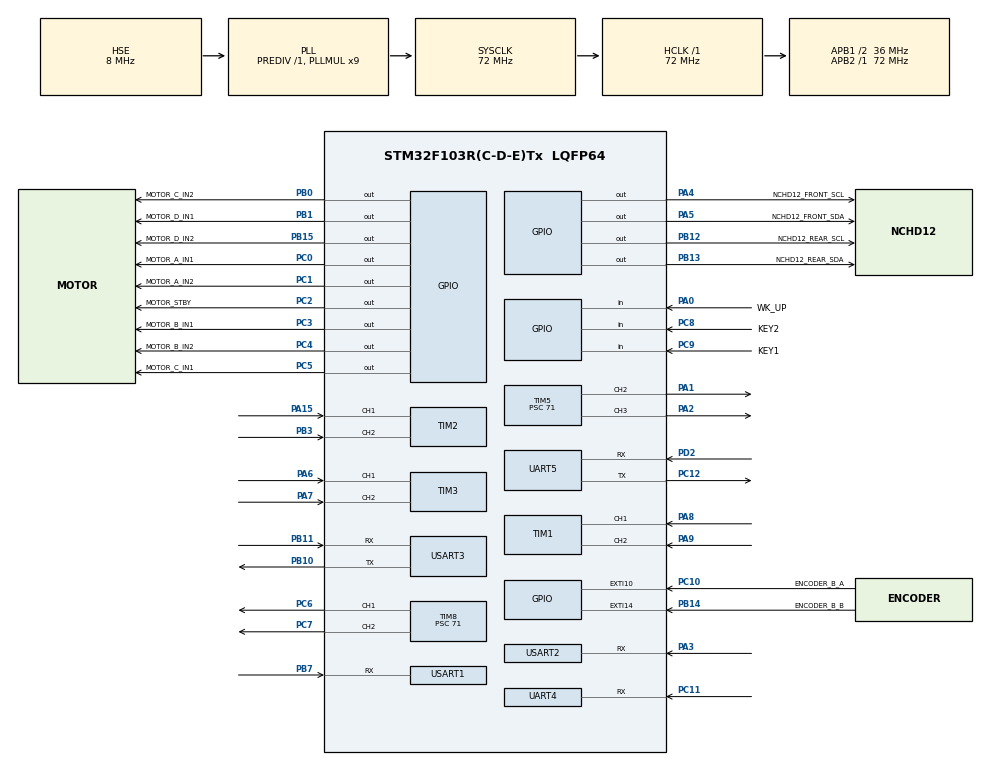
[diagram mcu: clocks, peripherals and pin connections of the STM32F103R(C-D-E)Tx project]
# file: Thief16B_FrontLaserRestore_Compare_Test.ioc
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Mcu.Family=STM32F1
Mcu.Name=STM32F103R(C-D-E)Tx
Mcu.Package=LQFP64
PA3.Mode=Asynchronous
PA3.Signal=USART2_RX
NVIC.EXTI15_10_IRQn=true\:5\:0\:false\:false\:true\:true\:true\:true
NVIC.PriorityGroup=NVIC_PRIORITYGROUP_4
NVIC.USART2_IRQn=true\:5\:0\:false\:false\:true\:true\:true\:true
PA0-WKUP.GPIO_Label=WK_UP
PA0-WKUP.GPIO_PuPd=GPIO_PULLDOWN
PA0-WKUP.Signal=GPIO_Input
PA1.Signal=S_TIM5_CH2
PA4.GPIO_Label=NCHD12_FRONT_SCL
PA4.Signal=GPIO_Output
PA5.GPIO_Label=NCHD12_FRONT_SDA
PA5.Signal=GPIO_Output
PB15.GPIO_Label=MOTOR_D_IN2
PB15.Signal=GPIO_Output
PA13.Mode=Serial_Wire
PA13.Signal=SYS_JTMS-SWDIO
PA14.Mode=Serial_Wire
PA14.Signal=SYS_JTCK-SWCLK
PA15.Signal=S_TIM2_CH1_ETR
PC12.Mode=Asynchronous
PC12.Signal=UART5_TX
PD2.Mode=Asynchronous
PD2.Signal=UART5_RX
PA2.Signal=S_TIM5_CH3
PA6.Signal=S_TIM3_CH1
PA7.Signal=S_TIM3_CH2
PA8.Signal=S_TIM1_CH1
PA9.Signal=S_TIM1_CH2
PB0.GPIO_Label=MOTOR_C_IN2
PB0.Signal=GPIO_Output
PB1.GPIO_Label=MOTOR_D_IN1
PB1.Signal=GPIO_Output
PB10.Mode=Asynchronous
PB10.Signal=USART3_TX
PB11.Mode=Asynchronous
PB11.Signal=USART3_RX
PB12.GPIO_Label=NCHD12_REAR_SCL
PB12.Signal=GPIO_Output
PB13.GPIO_Label=NCHD12_REAR_SDA
PB13.Signal=GPIO_Output
PB3.Signal=S_TIM2_CH2
PC10.GPIO_Label=ENCODER_B_A
PC10.GPIO_PuPd=GPIO_NOPULL
PC10.Signal=GPXTI10
PC0.GPIO_Label=MOTOR_A_IN1
PC0.Signal=GPIO_Output
PC1.GPIO_Label=MOTOR_A_IN2
PC1.Signal=GPIO_Output
PC2.GPIO_Label=MOTOR_STBY
PC2.Signal=GPIO_Output
PC3.GPIO_Label=MOTOR_B_IN1
PC3.Signal=GPIO_Output
PC4.GPIO_Label=MOTOR_B_IN2
PC4.Signal=GPIO_Output
PC5.GPIO_Label=MOTOR_C_IN1
PC5.Signal=GPIO_Output
PC6.Signal=S_TIM8_CH1
PC7.Signal=S_TIM8_CH2
PC8.GPIO_Label=KEY2
PC8.GPIO_PuPd=GPIO_PULLUP
PC8.Signal=GPIO_Input
PC9.GPIO_Label=KEY1
PC9.GPIO_PuPd=GPIO_PULLUP
PC9.Signal=GPIO_Input
PD0-OSC_IN.Mode=HSE-External-Oscillator
PD0-OSC_IN.Signal=RCC_OSC_IN
PD1-OSC_OUT.Mode=HSE-External-Oscillator
PD1-OSC_OUT.Signal=RCC_OSC_OUT
ProjectManager.HeapSize=0x200
ProjectManager.StackSize=0x400
ProjectManager.TargetToolchain=MDK-ARM V5.32
RCC.AHBFreq_Value=72000000
RCC.APB1CLKDivider=RCC_HCLK_DIV2
RCC.APB1Freq_Value=36000000
RCC.APB1TimFreq_Value=72000000
RCC.APB2Freq_Value=72000000
RCC.APB2TimFreq_Value=72000000
RCC.HCLKFreq_Value=72000000
RCC.PLLMUL=RCC_PLL_MUL9
RCC.PLLSourceVirtual=RCC_PLLSOURCE_HSE
RCC.SYSCLKFreq_VALUE=72000000
RCC.SYSCLKSource=RCC_SYSCLKSOURCE_PLLCLK
RCC.USBFreq_Value=72000000
SH.S_TIM1_CH1.0=TIM1_CH1,Encoder_Interface
SH.S_TIM1_CH2.0=TIM1_CH2,Encoder_Interface
SH.S_TIM2_CH1_ETR.0=TIM2_CH1,Encoder_Interface
SH.S_TIM2_CH2.0=TIM2_CH2,Encoder_Interface
SH.S_TIM3_CH1.0=TIM3_CH1,Encoder_Interface
SH.S_TIM3_CH2.0=TIM3_CH2,Encoder_Interface
SH.S_TIM5_CH2.0=TIM5_CH2,PWM Generation2 CH2
SH.S_TIM5_CH3.0=TIM5_CH3,PWM Generation3 CH3
SH.S_TIM8_CH1.0=TIM8_CH1,PWM Generation1 CH1
SH.S_TIM8_CH2.0=TIM8_CH2,PWM Generation2 CH2
TIM1.EncoderMode=TIM_ENCODERMODE_TI12
TIM2.EncoderMode=TIM_ENCODERMODE_TI12
TIM3.EncoderMode=TIM_ENCODERMODE_TI12
TIM5.AutoReloadPreload=TIM_AUTORELOAD_PRELOAD_ENABLE
TIM5.Channel-PWM\ Generation2\ CH2=TIM_CHANNEL_2
TIM5.Channel-PWM\ Generation3\ CH3=TIM_CHANNEL_3
TIM5.Period=999
TIM5.Prescaler=71
TIM8.AutoReloadPreload=TIM_AUTORELOAD_PRELOAD_ENABLE
TIM8.Channel-PWM\ Generation1\ CH1=TIM_CHANNEL_1
TIM8.Channel-PWM\ Generation2\ CH2=TIM_CHANNEL_2
TIM8.Period=999
TIM8.Prescaler=71
USART3.VirtualMode=VM_ASYNC
USART2.BaudRate=115200
USART2.Mode=RX
USART2.Parity=PARITY_NONE
USART2.StopBits=STOPBITS_1
USART2.VirtualMode=VM_ASYNC
USART2.WordLength=WORDLENGTH_8B
VP_TIM5_VS_ClockSourceINT.Mode=Internal
VP_TIM8_VS_ClockSourceINT.Mode=Internal
board=custom
PB7.Mode=Asynchronous
PB7.Signal=USART1_RX
PC11.Mode=Asynchronous
PC11.Signal=UART4_RX
PB14.GPIO_Label=ENCODER_B_B
PB14.GPIO_ModeDefaultEXTI=GPIO_MODE_IT_RISING_FALLING
PB14.Signal=GPXTI14
USART1.BaudRate=115200
USART1.Mode=RX
USART1.Parity=PARITY_NONE
USART1.StopBits=STOPBITS_1
USART1.VirtualMode=VM_ASYNC
USART1.WordLength=WORDLENGTH_8B
UART4.BaudRate=115200
UART4.Mode=RX
UART4.Parity=PARITY_NONE
UART4.StopBits=STOPBITS_1
UART4.VirtualMode=VM_ASYNC
UART4.WordLength=WORDLENGTH_8B
NVIC.USART1_IRQn=true\:5\:0\:false\:false\:true\:true\:true\:true
NVIC.USART3_IRQn=true\:5\:0\:false\:false\:true\:true\:true\:true
NVIC.UART4_IRQn=true\:5\:0\:false\:false\:true\:true\:true\:true

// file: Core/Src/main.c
/* USER CODE BEGIN Header */
/**
  ******************************************************************************
  * @file           : main.c
  * @brief          : Main program body
  ******************************************************************************
  * @attention
  *
  * Copyright (c) 2026 STMicroelectronics.
  * All rights reserved.
  *
  * This software is licensed under terms that can be found in the LICENSE file
  * in the root directory of this software component.
  * If no LICENSE file comes with this software, it is provided AS-IS.
  *
  ******************************************************************************
  */
/* USER CODE END Header */
#include "main.h"

/* USER CODE BEGIN Includes */
#include "App_ThiefStrategy.h"

/* USER CODE END Includes */

TIM_HandleTypeDef htim1;
TIM_HandleTypeDef htim2;
TIM_HandleTypeDef htim3;
TIM_HandleTypeDef htim5;
TIM_HandleTypeDef htim8;

UART_HandleTypeDef huart3;
UART_HandleTypeDef huart5;
UART_HandleTypeDef huart1;
UART_HandleTypeDef huart4;
UART_HandleTypeDef huart2;

void SystemClock_Config(void);
static void MX_GPIO_Init(void);
static void MX_TIM1_Init(void);
static void MX_TIM3_Init(void);
static void MX_TIM2_Init(void);
static void MX_TIM5_Init(void);
static void MX_TIM8_Init(void);
static void MX_USART3_UART_Init(void);
static void MX_UART5_Init(void);
static void MX_USART1_UART_Init(void);
static void MX_UART4_Init(void);
static void MX_USART2_UART_Init(void);

int main(void)
{

  /* MCU Configuration--------------------------------------------------------*/

  /* Reset of all peripherals, Initializes the Flash interface and the Systick. */
  HAL_Init();

  /* Configure the system clock */
  SystemClock_Config();

  /* Initialize all configured peripherals */
  MX_GPIO_Init();
  MX_TIM1_Init();
  MX_TIM3_Init();
  MX_TIM2_Init();
  MX_TIM5_Init();
  MX_TIM8_Init();
  MX_USART3_UART_Init();
  MX_UART5_Init();
  MX_USART1_UART_Init();
  MX_UART4_Init();
  MX_USART2_UART_Init();
  /* USER CODE BEGIN 2 */
  App_ThiefStrategy_Init();

  /* USER CODE END 2 */

  /* Infinite loop */
  /* USER CODE BEGIN WHILE */
  while (1)
  {
    App_ThiefStrategy_Task();
    /* USER CODE END WHILE */

  }
}

void SystemClock_Config(void)
{
  RCC_OscInitTypeDef RCC_OscInitStruct = {0};
  RCC_ClkInitTypeDef RCC_ClkInitStruct = {0};

  /** Initializes the RCC Oscillators according to the specified parameters
  * in the RCC_OscInitTypeDef structure.
  */
  RCC_OscInitStruct.OscillatorType = RCC_OSCILLATORTYPE_HSE;
  RCC_OscInitStruct.HSEState = RCC_HSE_ON;
  RCC_OscInitStruct.HSEPredivValue = RCC_HSE_PREDIV_DIV1;
  RCC_OscInitStruct.HSIState = RCC_HSI_ON;
  RCC_OscInitStruct.PLL.PLLState = RCC_PLL_ON;
  RCC_OscInitStruct.PLL.PLLSource = RCC_PLLSOURCE_HSE;
  RCC_OscInitStruct.PLL.PLLMUL = RCC_PLL_MUL9;
  if (HAL_RCC_OscConfig(&RCC_OscInitStruct) != HAL_OK)
  {
    Error_Handler();
  }

  /** Initializes the CPU, AHB and APB buses clocks
  */
  RCC_ClkInitStruct.ClockType = RCC_CLOCKTYPE_HCLK|RCC_CLOCKTYPE_SYSCLK
                              |RCC_CLOCKTYPE_PCLK1|RCC_CLOCKTYPE_PCLK2;
  RCC_ClkInitStruct.SYSCLKSource = RCC_SYSCLKSOURCE_PLLCLK;
  RCC_ClkInitStruct.AHBCLKDivider = RCC_SYSCLK_DIV1;
  RCC_ClkInitStruct.APB1CLKDivider = RCC_HCLK_DIV2;
  RCC_ClkInitStruct.APB2CLKDivider = RCC_HCLK_DIV1;

  if (HAL_RCC_ClockConfig(&RCC_ClkInitStruct, FLASH_LATENCY_2) != HAL_OK)
  {
    Error_Handler();
  }
}

static void MX_TIM1_Init(void)
{

  TIM_Encoder_InitTypeDef sConfig = {0};
  TIM_MasterConfigTypeDef sMasterConfig = {0};

  htim1.Instance = TIM1;
  htim1.Init.Prescaler = 0;
  htim1.Init.CounterMode = TIM_COUNTERMODE_UP;
  htim1.Init.Period = 65535;
  htim1.Init.ClockDivision = TIM_CLOCKDIVISION_DIV1;
  htim1.Init.RepetitionCounter = 0;
  htim1.Init.AutoReloadPreload = TIM_AUTORELOAD_PRELOAD_DISABLE;
  sConfig.EncoderMode = TIM_ENCODERMODE_TI12;
  sConfig.IC1Polarity = TIM_ICPOLARITY_RISING;
  sConfig.IC1Selection = TIM_ICSELECTION_DIRECTTI;
  sConfig.IC1Prescaler = TIM_ICPSC_DIV1;
  sConfig.IC1Filter = 0;
  sConfig.IC2Polarity = TIM_ICPOLARITY_RISING;
  sConfig.IC2Selection = TIM_ICSELECTION_DIRECTTI;
  sConfig.IC2Prescaler = TIM_ICPSC_DIV1;
  sConfig.IC2Filter = 0;
  if (HAL_TIM_Encoder_Init(&htim1, &sConfig) != HAL_OK)
  {
    Error_Handler();
  }
  sMasterConfig.MasterOutputTrigger = TIM_TRGO_RESET;
  sMasterConfig.MasterSlaveMode = TIM_MASTERSLAVEMODE_DISABLE;
  if (HAL_TIMEx_MasterConfigSynchronization(&htim1, &sMasterConfig) != HAL_OK)
  {
    Error_Handler();
  }

}

static void MX_TIM2_Init(void)
{

  TIM_Encoder_InitTypeDef sConfig = {0};
  TIM_MasterConfigTypeDef sMasterConfig = {0};

  htim2.Instance = TIM2;
  htim2.Init.Prescaler = 0;
  htim2.Init.CounterMode = TIM_COUNTERMODE_UP;
  htim2.Init.Period = 65535;
  htim2.Init.ClockDivision = TIM_CLOCKDIVISION_DIV1;
  htim2.Init.AutoReloadPreload = TIM_AUTORELOAD_PRELOAD_DISABLE;
  sConfig.EncoderMode = TIM_ENCODERMODE_TI12;
  sConfig.IC1Polarity = TIM_ICPOLARITY_RISING;
  sConfig.IC1Selection = TIM_ICSELECTION_DIRECTTI;
  sConfig.IC1Prescaler = TIM_ICPSC_DIV1;
  sConfig.IC1Filter = 0;
  sConfig.IC2Polarity = TIM_ICPOLARITY_RISING;
  sConfig.IC2Selection = TIM_ICSELECTION_DIRECTTI;
  sConfig.IC2Prescaler = TIM_ICPSC_DIV1;
  sConfig.IC2Filter = 0;
  if (HAL_TIM_Encoder_Init(&htim2, &sConfig) != HAL_OK)
  {
    Error_Handler();
  }
  sMasterConfig.MasterOutputTrigger = TIM_TRGO_RESET;
  sMasterConfig.MasterSlaveMode = TIM_MASTERSLAVEMODE_DISABLE;
  if (HAL_TIMEx_MasterConfigSynchronization(&htim2, &sMasterConfig) != HAL_OK)
  {
    Error_Handler();
  }

}

static void MX_TIM3_Init(void)
{

  TIM_Encoder_InitTypeDef sConfig = {0};
  TIM_MasterConfigTypeDef sMasterConfig = {0};

  htim3.Instance = TIM3;
  htim3.Init.Prescaler = 0;
  htim3.Init.CounterMode = TIM_COUNTERMODE_UP;
  htim3.Init.Period = 65535;
  htim3.Init.ClockDivision = TIM_CLOCKDIVISION_DIV1;
  htim3.Init.AutoReloadPreload = TIM_AUTORELOAD_PRELOAD_DISABLE;
  sConfig.EncoderMode = TIM_ENCODERMODE_TI12;
  sConfig.IC1Polarity = TIM_ICPOLARITY_RISING;
  sConfig.IC1Selection = TIM_ICSELECTION_DIRECTTI;
  sConfig.IC1Prescaler = TIM_ICPSC_DIV1;
  sConfig.IC1Filter = 0;
  sConfig.IC2Polarity = TIM_ICPOLARITY_RISING;
  sConfig.IC2Selection = TIM_ICSELECTION_DIRECTTI;
  sConfig.IC2Prescaler = TIM_ICPSC_DIV1;
  sConfig.IC2Filter = 0;
  if (HAL_TIM_Encoder_Init(&htim3, &sConfig) != HAL_OK)
  {
    Error_Handler();
  }
  sMasterConfig.MasterOutputTrigger = TIM_TRGO_RESET;
  sMasterConfig.MasterSlaveMode = TIM_MASTERSLAVEMODE_DISABLE;
  if (HAL_TIMEx_MasterConfigSynchronization(&htim3, &sMasterConfig) != HAL_OK)
  {
    Error_Handler();
  }

}

static void MX_TIM5_Init(void)
{

  TIM_ClockConfigTypeDef sClockSourceConfig = {0};
  TIM_MasterConfigTypeDef sMasterConfig = {0};
  TIM_OC_InitTypeDef sConfigOC = {0};

  htim5.Instance = TIM5;
  htim5.Init.Prescaler = 71;
  htim5.Init.CounterMode = TIM_COUNTERMODE_UP;
  htim5.Init.Period = 999;
  htim5.Init.ClockDivision = TIM_CLOCKDIVISION_DIV1;
  htim5.Init.AutoReloadPreload = TIM_AUTORELOAD_PRELOAD_ENABLE;
  if (HAL_TIM_Base_Init(&htim5) != HAL_OK)
  {
    Error_Handler();
  }
  sClockSourceConfig.ClockSource = TIM_CLOCKSOURCE_INTERNAL;
  if (HAL_TIM_ConfigClockSource(&htim5, &sClockSourceConfig) != HAL_OK)
  {
    Error_Handler();
  }
  if (HAL_TIM_PWM_Init(&htim5) != HAL_OK)
  {
    Error_Handler();
  }
  sMasterConfig.MasterOutputTrigger = TIM_TRGO_RESET;
  sMasterConfig.MasterSlaveMode = TIM_MASTERSLAVEMODE_DISABLE;
  if (HAL_TIMEx_MasterConfigSynchronization(&htim5, &sMasterConfig) != HAL_OK)
  {
    Error_Handler();
  }
  sConfigOC.OCMode = TIM_OCMODE_PWM1;
  sConfigOC.Pulse = 0;
  sConfigOC.OCPolarity = TIM_OCPOLARITY_HIGH;
  sConfigOC.OCFastMode = TIM_OCFAST_DISABLE;
  if (HAL_TIM_PWM_ConfigChannel(&htim5, &sConfigOC, TIM_CHANNEL_2) != HAL_OK)
  {
    Error_Handler();
  }
  if (HAL_TIM_PWM_ConfigChannel(&htim5, &sConfigOC, TIM_CHANNEL_3) != HAL_OK)
  {
    Error_Handler();
  }
  HAL_TIM_MspPostInit(&htim5);

}

static void MX_TIM8_Init(void)
{

  TIM_ClockConfigTypeDef sClockSourceConfig = {0};
  TIM_MasterConfigTypeDef sMasterConfig = {0};
  TIM_OC_InitTypeDef sConfigOC = {0};
  TIM_BreakDeadTimeConfigTypeDef sBreakDeadTimeConfig = {0};

  htim8.Instance = TIM8;
  htim8.Init.Prescaler = 71;
  htim8.Init.CounterMode = TIM_COUNTERMODE_UP;
  htim8.Init.Period = 999;
  htim8.Init.ClockDivision = TIM_CLOCKDIVISION_DIV1;
  htim8.Init.RepetitionCounter = 0;
  htim8.Init.AutoReloadPreload = TIM_AUTORELOAD_PRELOAD_ENABLE;
  if (HAL_TIM_Base_Init(&htim8) != HAL_OK)
  {
    Error_Handler();
  }
  sClockSourceConfig.ClockSource = TIM_CLOCKSOURCE_INTERNAL;
  if (HAL_TIM_ConfigClockSource(&htim8, &sClockSourceConfig) != HAL_OK)
  {
    Error_Handler();
  }
  if (HAL_TIM_PWM_Init(&htim8) != HAL_OK)
  {
    Error_Handler();
  }
  sMasterConfig.MasterOutputTrigger = TIM_TRGO_RESET;
  sMasterConfig.MasterSlaveMode = TIM_MASTERSLAVEMODE_DISABLE;
  if (HAL_TIMEx_MasterConfigSynchronization(&htim8, &sMasterConfig) != HAL_OK)
  {
    Error_Handler();
  }
  sConfigOC.OCMode = TIM_OCMODE_PWM1;
  sConfigOC.Pulse = 0;
  sConfigOC.OCPolarity = TIM_OCPOLARITY_HIGH;
  sConfigOC.OCNPolarity = TIM_OCNPOLARITY_HIGH;
  sConfigOC.OCFastMode = TIM_OCFAST_DISABLE;
  sConfigOC.OCIdleState = TIM_OCIDLESTATE_RESET;
  sConfigOC.OCNIdleState = TIM_OCNIDLESTATE_RESET;
  if (HAL_TIM_PWM_ConfigChannel(&htim8, &sConfigOC, TIM_CHANNEL_1) != HAL_OK)
  {
    Error_Handler();
  }
  if (HAL_TIM_PWM_ConfigChannel(&htim8, &sConfigOC, TIM_CHANNEL_2) != HAL_OK)
  {
    Error_Handler();
  }
  sBreakDeadTimeConfig.OffStateRunMode = TIM_OSSR_DISABLE;
  sBreakDeadTimeConfig.OffStateIDLEMode = TIM_OSSI_DISABLE;
  sBreakDeadTimeConfig.LockLevel = TIM_LOCKLEVEL_OFF;
  sBreakDeadTimeConfig.DeadTime = 0;
  sBreakDeadTimeConfig.BreakState = TIM_BREAK_DISABLE;
  sBreakDeadTimeConfig.BreakPolarity = TIM_BREAKPOLARITY_HIGH;
  sBreakDeadTimeConfig.AutomaticOutput = TIM_AUTOMATICOUTPUT_DISABLE;
  if (HAL_TIMEx_ConfigBreakDeadTime(&htim8, &sBreakDeadTimeConfig) != HAL_OK)
  {
    Error_Handler();
  }
  HAL_TIM_MspPostInit(&htim8);

}

static void MX_USART3_UART_Init(void)
{

  huart3.Instance = USART3;
  huart3.Init.BaudRate = 115200;
  huart3.Init.WordLength = UART_WORDLENGTH_8B;
  huart3.Init.StopBits = UART_STOPBITS_1;
  huart3.Init.Parity = UART_PARITY_NONE;
  huart3.Init.Mode = UART_MODE_TX_RX;
  huart3.Init.HwFlowCtl = UART_HWCONTROL_NONE;
  huart3.Init.OverSampling = UART_OVERSAMPLING_16;
  if (HAL_UART_Init(&huart3) != HAL_OK)
  {
    Error_Handler();
  }

}

static void MX_UART5_Init(void)
{
  huart5.Instance = UART5;
  huart5.Init.BaudRate = 9600;
  huart5.Init.WordLength = UART_WORDLENGTH_8B;
  huart5.Init.StopBits = UART_STOPBITS_1;
  huart5.Init.Parity = UART_PARITY_NONE;
  huart5.Init.Mode = UART_MODE_TX_RX;
  huart5.Init.HwFlowCtl = UART_HWCONTROL_NONE;
  huart5.Init.OverSampling = UART_OVERSAMPLING_16;
  if (HAL_UART_Init(&huart5) != HAL_OK)
  {
    Error_Handler();
  }
}

static void MX_USART2_UART_Init(void)
{
  huart2.Instance = USART2;
  huart2.Init.BaudRate = 115200;
  huart2.Init.WordLength = UART_WORDLENGTH_8B;
  huart2.Init.StopBits = UART_STOPBITS_1;
  huart2.Init.Parity = UART_PARITY_NONE;
  huart2.Init.Mode = UART_MODE_RX;
  huart2.Init.HwFlowCtl = UART_HWCONTROL_NONE;
  huart2.Init.OverSampling = UART_OVERSAMPLING_16;
  if (HAL_UART_Init(&huart2) != HAL_OK)
  {
    Error_Handler();
  }
}

static void MX_GPIO_Init(void)
{
  GPIO_InitTypeDef GPIO_InitStruct = {0};

  /* GPIO Ports Clock Enable */
  __HAL_RCC_GPIOD_CLK_ENABLE();
  __HAL_RCC_GPIOC_CLK_ENABLE();
  __HAL_RCC_GPIOA_CLK_ENABLE();
  __HAL_RCC_GPIOB_CLK_ENABLE();

  /*Configure GPIO pin Output Level */
  HAL_GPIO_WritePin(GPIOC, MOTOR_A_IN1_Pin|MOTOR_A_IN2_Pin|MOTOR_STBY_Pin|MOTOR_B_IN1_Pin
                          |MOTOR_B_IN2_Pin|MOTOR_C_IN1_Pin, GPIO_PIN_RESET);

  /*Configure GPIO pin Output Level */
  HAL_GPIO_WritePin(GPIOB, MOTOR_C_IN2_Pin|MOTOR_D_IN1_Pin, GPIO_PIN_RESET);

  /*Configure GPIO pin Output Level */
  HAL_GPIO_WritePin(MOTOR_D_IN2_GPIO_Port, MOTOR_D_IN2_Pin, GPIO_PIN_RESET);

  /* Configure the front software-I2C bus released high. */
  HAL_GPIO_WritePin(GPIOA,
                   NCHD12_FRONT_SCL_Pin | NCHD12_FRONT_SDA_Pin,
                   GPIO_PIN_SET);

  /*Configure GPIO pins : MOTOR_A_IN1_Pin MOTOR_A_IN2_Pin MOTOR_STBY_Pin MOTOR_B_IN1_Pin
                           MOTOR_B_IN2_Pin MOTOR_C_IN1_Pin */
  GPIO_InitStruct.Pin = MOTOR_A_IN1_Pin|MOTOR_A_IN2_Pin|MOTOR_STBY_Pin|MOTOR_B_IN1_Pin
                          |MOTOR_B_IN2_Pin|MOTOR_C_IN1_Pin;
  GPIO_InitStruct.Mode = GPIO_MODE_OUTPUT_PP;
  GPIO_InitStruct.Pull = GPIO_NOPULL;
  GPIO_InitStruct.Speed = GPIO_SPEED_FREQ_LOW;
  HAL_GPIO_Init(GPIOC, &GPIO_InitStruct);

  /*Configure GPIO pin : WK_UP_Pin */
  GPIO_InitStruct.Pin = WK_UP_Pin;
  GPIO_InitStruct.Mode = GPIO_MODE_INPUT;
  GPIO_InitStruct.Pull = GPIO_PULLDOWN;
  HAL_GPIO_Init(WK_UP_GPIO_Port, &GPIO_InitStruct);

  /*Configure GPIO pins : MOTOR_C_IN2_Pin MOTOR_D_IN1_Pin */
  GPIO_InitStruct.Pin = MOTOR_C_IN2_Pin|MOTOR_D_IN1_Pin;
  GPIO_InitStruct.Mode = GPIO_MODE_OUTPUT_PP;
  GPIO_InitStruct.Pull = GPIO_NOPULL;
  GPIO_InitStruct.Speed = GPIO_SPEED_FREQ_LOW;
  HAL_GPIO_Init(GPIOB, &GPIO_InitStruct);

  /*Configure GPIO pins : KEY2_Pin KEY1_Pin */
  GPIO_InitStruct.Pin = KEY2_Pin|KEY1_Pin;
  GPIO_InitStruct.Mode = GPIO_MODE_INPUT;
  GPIO_InitStruct.Pull = GPIO_PULLUP;
  HAL_GPIO_Init(GPIOC, &GPIO_InitStruct);

  /*Configure GPIO pin : MOTOR_D_IN2_Pin */
  GPIO_InitStruct.Pin = MOTOR_D_IN2_Pin;
  GPIO_InitStruct.Mode = GPIO_MODE_OUTPUT_PP;
  GPIO_InitStruct.Pull = GPIO_NOPULL;
  GPIO_InitStruct.Speed = GPIO_SPEED_FREQ_LOW;
  HAL_GPIO_Init(MOTOR_D_IN2_GPIO_Port, &GPIO_InitStruct);

  /* Configure the front NCHD12 software-I2C pins. */
  GPIO_InitStruct.Pin = NCHD12_FRONT_SCL_Pin | NCHD12_FRONT_SDA_Pin;
  GPIO_InitStruct.Mode = GPIO_MODE_OUTPUT_OD;
  GPIO_InitStruct.Pull = GPIO_PULLUP;
  GPIO_InitStruct.Speed = GPIO_SPEED_FREQ_HIGH;
  HAL_GPIO_Init(NCHD12_FRONT_SCL_GPIO_Port, &GPIO_InitStruct);

  /* Configure encoder B for software quadrature decoding. */
  GPIO_InitStruct.Pin = ENCODER_B_A_Pin;
  GPIO_InitStruct.Mode = GPIO_MODE_IT_RISING_FALLING;
  GPIO_InitStruct.Pull = GPIO_NOPULL;
  HAL_GPIO_Init(ENCODER_B_A_GPIO_Port, &GPIO_InitStruct);
  GPIO_InitStruct.Pin = ENCODER_B_B_Pin;
  HAL_GPIO_Init(ENCODER_B_B_GPIO_Port, &GPIO_InitStruct);

  HAL_NVIC_SetPriority(EXTI15_10_IRQn, 5, 0);
  HAL_NVIC_EnableIRQ(EXTI15_10_IRQn);

}

/* USER CODE BEGIN 4 */
static void MX_USART1_UART_Init(void)
{
  huart1.Instance = USART1;
  huart1.Init.BaudRate = 115200;
  huart1.Init.WordLength = UART_WORDLENGTH_8B;
  huart1.Init.StopBits = UART_STOPBITS_1;
  huart1.Init.Parity = UART_PARITY_NONE;
  huart1.Init.Mode = UART_MODE_RX;
  huart1.Init.HwFlowCtl = UART_HWCONTROL_NONE;
  huart1.Init.OverSampling = UART_OVERSAMPLING_16;
  if (HAL_UART_Init(&huart1) != HAL_OK) Error_Handler();
}
static void MX_UART4_Init(void)
{
  huart4.Instance = UART4;
  huart4.Init.BaudRate = 115200;
  huart4.Init.WordLength = UART_WORDLENGTH_8B;
  huart4.Init.StopBits = UART_STOPBITS_1;
  huart4.Init.Parity = UART_PARITY_NONE;
  huart4.Init.Mode = UART_MODE_RX;
  huart4.Init.HwFlowCtl = UART_HWCONTROL_NONE;
  huart4.Init.OverSampling = UART_OVERSAMPLING_16;
  if (HAL_UART_Init(&huart4) != HAL_OK) Error_Handler();
}

/* USER CODE END 4 */

void Error_Handler(void)
{
  __disable_irq();
  while (1)
  {
  }
}
